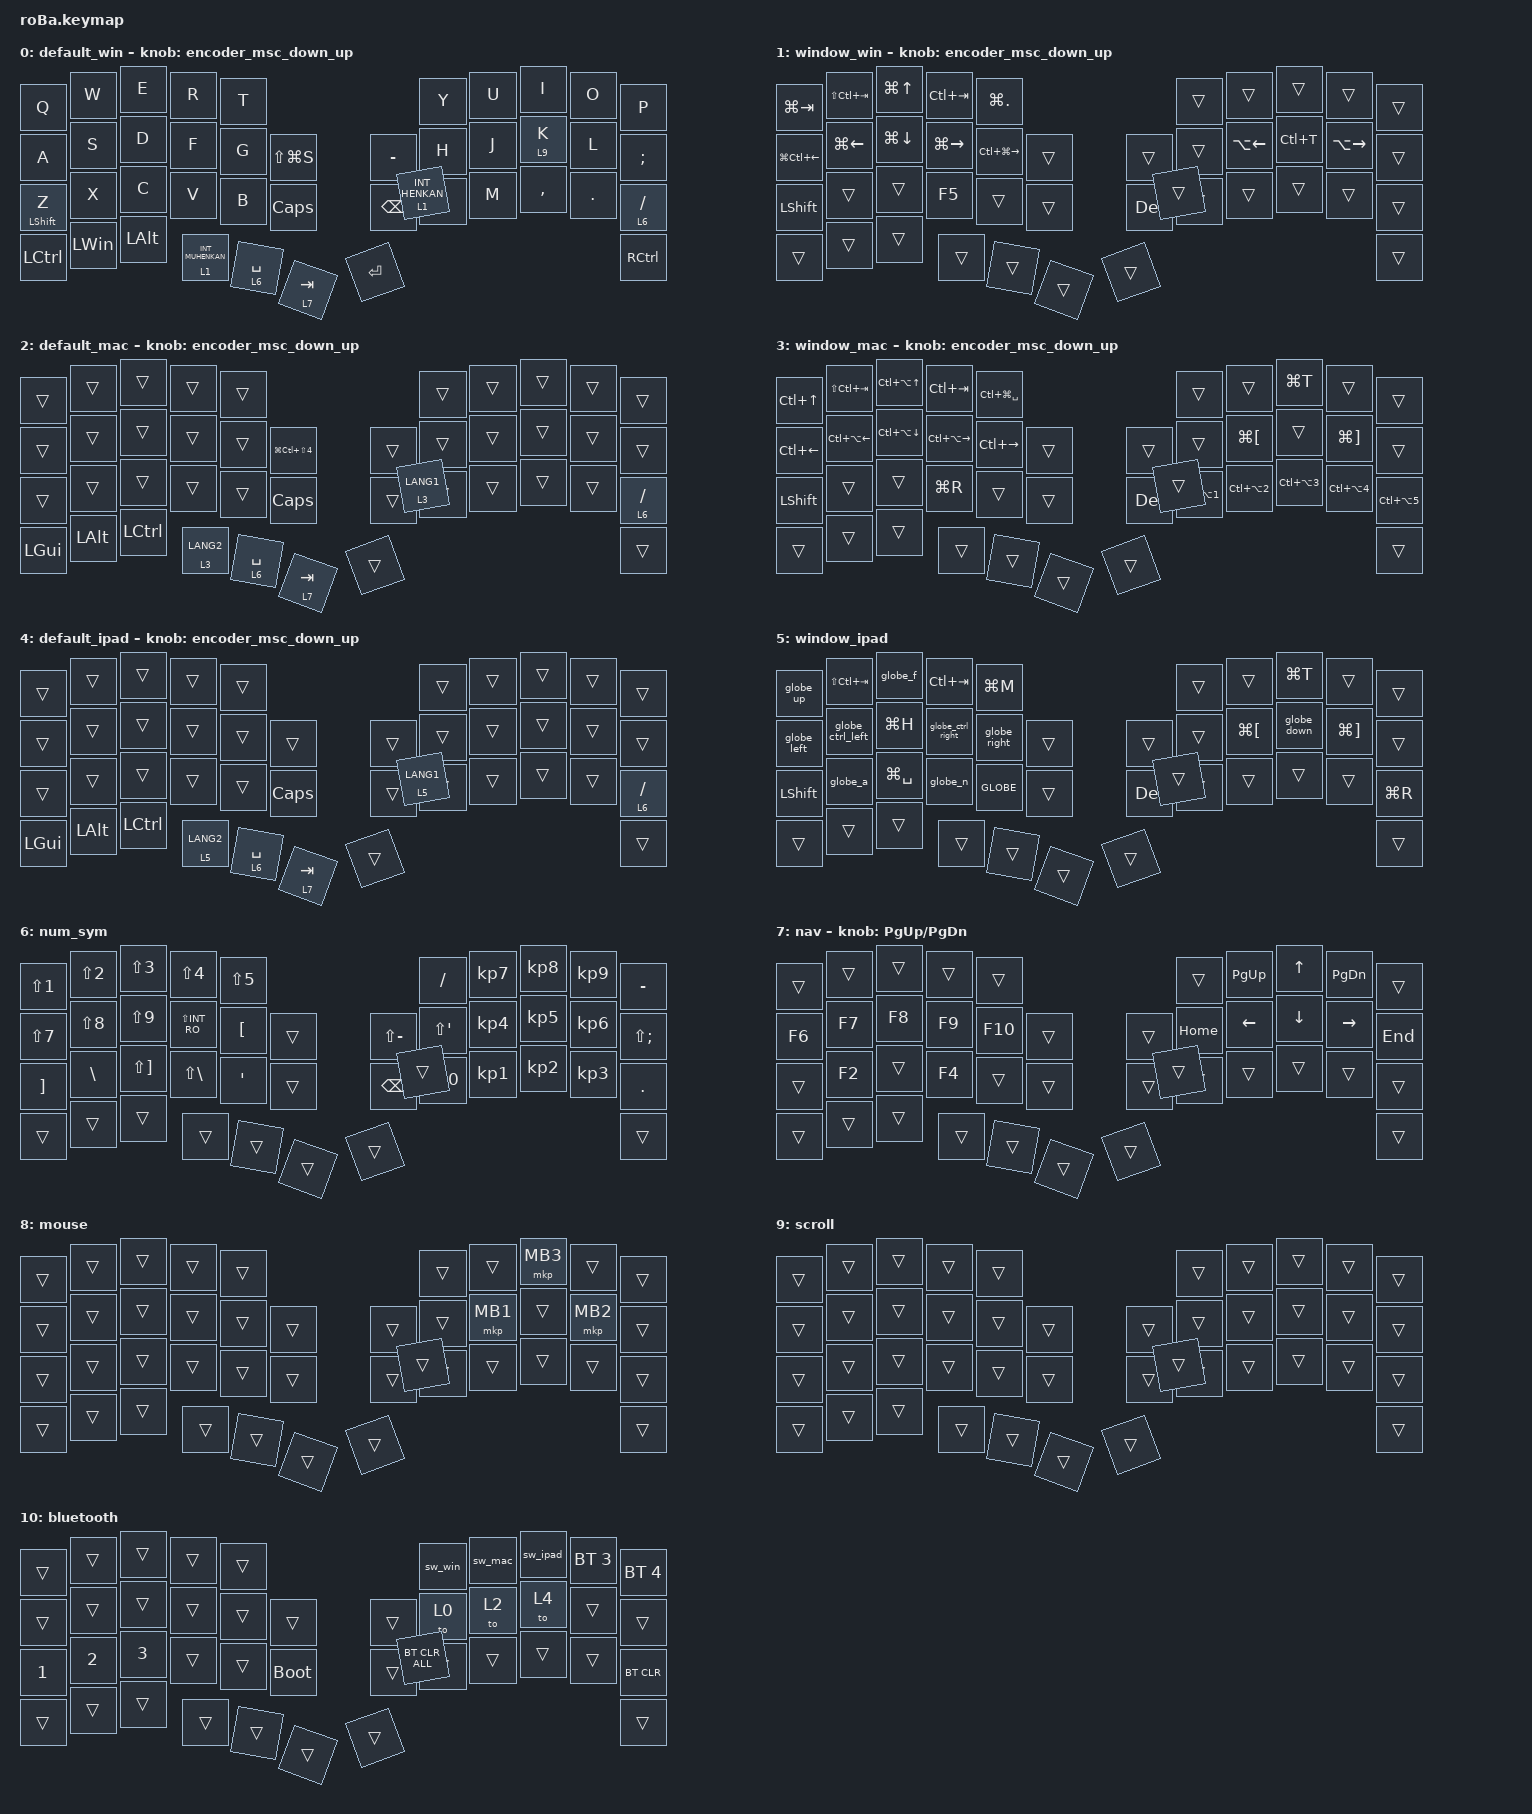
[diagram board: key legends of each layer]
#include <input/processors.dtsi>
#include <behaviors.dtsi>
#include <dt-bindings/zmk/bt.h>
#include <dt-bindings/zmk/keys.h>
#include <dt-bindings/zmk/pointing.h>

#define ZMK_POINTING_DEFAULT_SCRL_VAL 80
#define MOUSE  8

&mt {
    flavor = "balanced";
    quick-tap-ms = <150>;
    require-prior-idle-ms = <150>;
};

// マウスキーを押下すると10秒間AMLを延長する。

&mkp_input_listener { input-processors = <&zip_temp_layer 8 10000>; };

&zip_temp_layer { require-prior-idle-ms = <200>; };

&trackball { scroll-layers = <9>; };

/ {
    combos {
        compatible = "zmk,combos";

        tab {
            bindings = <&kp TAB>;
            key-positions = <11 12>;
        };

        shift_tab {
            bindings = <&kp LS(TAB)>;
            key-positions = <12 13>;
        };

        Alt_Left {
            bindings = <&mkp MB4>;
            key-positions = <17 18>;
            layers = <0 1 2 3 4 5>;
        };

        Ctrl_Shift_1 {
            bindings = <&kp LS(LC(NUMBER_1))>;
            key-positions = <29 30>;
        };

        Bluetooth {
            bindings = <&lt 10 SPACE>;
            key-positions = <37 38 39>;
        };

        escape {
            bindings = <&kp ESCAPE>;
            key-positions = <18 19>;
            layers = <0 1 2 3 4 5>;
        };

        amp {
            bindings = <&kp LS(NUMBER_6)>;
            key-positions = <2 3>;
            layers = <6>;
            timeout-ms = <40>;
            require-prior-idle-ms = <150>;
        };

        close_win {
            bindings = <&kp LC(W)>;
            key-positions = <30 32>;
            layers = <0 1>;
            timeout-ms = <35>;
            require-prior-idle-ms = <150>;
        };

        close_mac {
            bindings = <&kp LG(W)>;
            key-positions = <30 32>;
            layers = <2 3 4 5>;
            timeout-ms = <35>;
            require-prior-idle-ms = <150>;
        };

        alt_f4 {
            bindings = <&kp LA(F4)>;
            key-positions = <23 24 25>;
            layers = <1>;
            timeout-ms = <50>;
            require-prior-idle-ms = <150>;
        };

        f7 {
            bindings = <&kp F7>;
            key-positions = <3 4>;
            layers = <6>;
            timeout-ms = <40>;
            require-prior-idle-ms = <150>;
        };

        f8 {
            bindings = <&kp F8>;
            key-positions = <13 14>;
            layers = <6>;
            timeout-ms = <40>;
            require-prior-idle-ms = <150>;
        };

        f9 {
            bindings = <&kp F9>;
            key-positions = <5 6>;
            layers = <6>;
            timeout-ms = <40>;
            require-prior-idle-ms = <150>;
        };

        f10 {
            bindings = <&kp F10>;
            key-positions = <17 18>;
            layers = <6>;
            timeout-ms = <40>;
            require-prior-idle-ms = <150>;
        };

        f2 {
            bindings = <&kp F2>;
            key-positions = <22 23>;
            layers = <6>;
            timeout-ms = <40>;
            require-prior-idle-ms = <150>;
        };

        f4 {
            bindings = <&kp F4>;
            key-positions = <24 25>;
            layers = <6>;
            timeout-ms = <40>;
            require-prior-idle-ms = <150>;
        };
    };

    macros {
        to_layer_0: to_layer_0 {
            compatible = "zmk,behavior-macro-one-param";
            #binding-cells = <1>;
            bindings = <&to 0 &macro_param_1to1 &kp MACRO_PLACEHOLDER>;
            label = "TO_LAYER_0";
        };

        exit_AML: exit_AML {
            compatible = "zmk,behavior-macro";
            wait-ms = <0>;
            tap-ms = <0>;
            #binding-cells = <0>;
            bindings = <&tog_off 8>;
            label = "exit_AML";
        };

        kp_exit_AML: kp_exit_AML {
            compatible = "zmk,behavior-macro-one-param";
            wait-ms = <0>;
            tap-ms = <0>;
            #binding-cells = <1>;
            bindings = <&macro_param_1to1 &kp MACRO_PLACEHOLDER &exit_AML>;
            label = "KP_exit_AML";
        };

        sw_win: sw_win {
            compatible = "zmk,behavior-macro";
            #binding-cells = <0>;
            wait-ms = <0>;
            tap-ms = <0>;
            bindings = <&bt BT_SEL 0 &to 0>;
            label = "SW_WIN";
        };

        sw_mac: sw_mac {
            compatible = "zmk,behavior-macro";
            #binding-cells = <0>;
            wait-ms = <0>;
            tap-ms = <0>;
            bindings = <&bt BT_SEL 1 &to 2>;
            label = "SW_MAC";
        };

        sw_ipad: sw_ipad {
            compatible = "zmk,behavior-macro";
            #binding-cells = <0>;
            wait-ms = <0>;
            tap-ms = <0>;
            bindings = <&bt BT_SEL 2 &to 4>;
            label = "SW_IPAD";
        };

        globe_up: globe_up {
            compatible = "zmk,behavior-macro";
            #binding-cells = <0>;
            wait-ms = <0>;
            tap-ms = <0>;
            bindings = <&macro_press &kp GLOBE>, <&macro_tap &kp UP>, <&macro_release &kp GLOBE>;
            label = "GLOBE_UP";
        };

        globe_down: globe_down {
            compatible = "zmk,behavior-macro";
            #binding-cells = <0>;
            wait-ms = <0>;
            tap-ms = <0>;
            bindings = <&macro_press &kp GLOBE>, <&macro_tap &kp DOWN>, <&macro_release &kp GLOBE>;
            label = "GLOBE_DOWN";
        };

        globe_left: globe_left {
            compatible = "zmk,behavior-macro";
            #binding-cells = <0>;
            wait-ms = <0>;
            tap-ms = <0>;
            bindings = <&macro_press &kp GLOBE>, <&macro_tap &kp LEFT>, <&macro_release &kp GLOBE>;
            label = "GLOBE_LEFT";
        };

        globe_right: globe_right {
            compatible = "zmk,behavior-macro";
            #binding-cells = <0>;
            wait-ms = <0>;
            tap-ms = <0>;
            bindings = <&macro_press &kp GLOBE>, <&macro_tap &kp RIGHT>, <&macro_release &kp GLOBE>;
            label = "GLOBE_RIGHT";
        };

        globe_f: globe_f {
            compatible = "zmk,behavior-macro";
            #binding-cells = <0>;
            wait-ms = <0>;
            tap-ms = <0>;
            bindings = <&macro_press &kp GLOBE>, <&macro_tap &kp F>, <&macro_release &kp GLOBE>;
            label = "GLOBE_F";
        };

        globe_a: globe_a {
            compatible = "zmk,behavior-macro";
            #binding-cells = <0>;
            wait-ms = <0>;
            tap-ms = <0>;
            bindings = <&macro_press &kp GLOBE>, <&macro_tap &kp A>, <&macro_release &kp GLOBE>;
            label = "GLOBE_A";
        };

        globe_n: globe_n {
            compatible = "zmk,behavior-macro";
            #binding-cells = <0>;
            wait-ms = <0>;
            tap-ms = <0>;
            bindings = <&macro_press &kp GLOBE>, <&macro_tap &kp N>, <&macro_release &kp GLOBE>;
            label = "GLOBE_N";
        };

        globe_ctrl_left: globe_ctrl_left {
            compatible = "zmk,behavior-macro";
            #binding-cells = <0>;
            wait-ms = <0>;
            tap-ms = <0>;
            bindings = <&macro_press &kp GLOBE>, <&macro_press &kp LCTRL>, <&macro_tap &kp LEFT>, <&macro_release &kp LCTRL>, <&macro_release &kp GLOBE>;
            label = "GLOBE_CTRL_LEFT";
        };

        globe_ctrl_right: globe_ctrl_right {
            compatible = "zmk,behavior-macro";
            #binding-cells = <0>;
            wait-ms = <0>;
            tap-ms = <0>;
            bindings = <&macro_press &kp GLOBE>, <&macro_press &kp LCTRL>, <&macro_tap &kp RIGHT>, <&macro_release &kp LCTRL>, <&macro_release &kp GLOBE>;
            label = "GLOBE_CTRL_RIGHT";
        };
    };

    behaviors {
        encoder_msc_down_up: encoder_msc_down_up {
            compatible = "zmk,behavior-sensor-rotate";
            label = "ENCODER_MSC_DOWN_UP";
            #sensor-binding-cells = <0>;
            bindings = <&msc SCRL_DOWN>, <&msc SCRL_UP>;

            tap-ms = <20>;
        };

        lt_to_layer_0: lt_to_layer_0 {
            compatible = "zmk,behavior-hold-tap";
            label = "LAYER_TAP_TO_0";
            bindings = <&mo>, <&to_layer_0>;

            #binding-cells = <2>;
            tapping-term-ms = <200>;
            require-prior-idle-ms = <150>;
        };

        tog_off: toggle_layer_off {
            compatible = "zmk,behavior-toggle-layer";
            #binding-cells = <1>;
            display-name = "Toggle Layer Off";
            toggle-mode = "off";
        };

        mt_exit_AML_on_tap: mt_exit_AML_on_tap {
            compatible = "zmk,behavior-hold-tap";
            label = "MT_exit_AML_ON_TAP";
            bindings = <&kp>, <&kp_exit_AML>;

            #binding-cells = <2>;
            tapping-term-ms = <200>;
            flavor = "balanced";
            quick-tap-ms = <200>;
            require-prior-idle-ms = <150>;
        };
    };

    keymap {
        compatible = "zmk,keymap";

        default_win {
            bindings = <
&kp Q                             &kp W         &kp E         &kp R               &kp T                                          &kp Y             &kp U  &kp I      &kp O    &kp P
&kp A                             &kp S         &kp D         &kp F               &kp G        &kp LS(LG(S))      &kp MINUS      &kp H             &kp J  &lt 9 K    &kp L    &kp SEMICOLON
&mt_exit_AML_on_tap LEFT_SHIFT Z  &kp X         &kp C         &kp V               &kp B        &kp CAPSLOCK       &kp BACKSPACE  &kp N             &kp M  &kp COMMA  &kp DOT  &lt 6 SLASH
&kp LCTRL                         &kp LEFT_WIN  &kp LEFT_ALT  &lt 1 INT_MUHENKAN  &lt 6 SPACE  &lt 7 TAB          &kp ENTER      &lt 1 INT_HENKAN                             &kp RCTRL
            >;

            sensor-bindings = <&encoder_msc_down_up>;
        };

        window_win {
            // Win: window/tab/browser ops. Triggered by Slash hold (right hand).

            bindings = <
&kp LG(TAB)       &kp LS(LC(TAB))     &kp LG(UP_ARROW)    &kp LC(TAB)          &kp LG(DOT)                            &trans  &trans        &trans     &trans         &trans
&kp LG(LC(LEFT))  &kp LG(LEFT_ARROW)  &kp LG(DOWN_ARROW)  &kp LG(RIGHT_ARROW)  &kp LC(LG(RIGHT))  &trans      &trans  &trans  &kp LA(LEFT)  &kp LC(T)  &kp LA(RIGHT)  &trans
&kp LEFT_SHIFT  &trans  &trans  &kp F5  &trans  &trans  &kp DELETE  &trans  &trans  &trans  &trans  &trans
&trans            &trans              &trans              &trans               &trans             &trans      &trans  &trans                                          &trans
            >;

            sensor-bindings = <&encoder_msc_down_up>;
        };

        default_mac {
            // Mac固有キーのみ明示。残りはLayer 0(default_win)に透過。

            bindings = <
&trans        &trans        &trans            &trans       &trans                                             &trans       &trans  &trans  &trans  &trans
&trans        &trans        &trans            &trans       &trans       &kp LG(LC(LS(NUMBER_4)))      &trans  &trans       &trans  &trans  &trans  &trans
&trans        &trans        &trans            &trans       &trans       &kp CAPSLOCK                  &trans  &trans       &trans  &trans  &trans  &lt 6 SLASH
&kp LEFT_GUI  &kp LEFT_ALT  &kp LEFT_CONTROL  &lt 3 LANG2  &lt 6 SPACE  &lt 7 TAB                     &trans  &lt 3 LANG1                          &trans
            >;

            sensor-bindings = <&encoder_msc_down_up>;
        };

        window_mac {
            // Mac: window/tab/browser ops. Triggered by Slash hold (right hand).

            bindings = <
&kp LC(UP)      &kp LS(LC(TAB))   &kp LC(LA(UP))    &kp LC(TAB)        &kp LC(LG(SPACE))                      &trans                &trans                &kp LG(T)             &trans                 &trans
&kp LC(LEFT)    &kp LC(LA(LEFT))  &kp LC(LA(DOWN))  &kp LC(LA(RIGHT))  &kp LC(RIGHT)      &trans      &trans  &trans                &kp LG(LEFT_BRACKET)  &trans                &kp LG(RIGHT_BRACKET)  &trans
&kp LEFT_SHIFT  &trans  &trans  &kp LG(R)  &trans  &trans  &kp DELETE  &kp LC(LA(NUMBER_1))  &kp LC(LA(NUMBER_2))  &kp LC(LA(NUMBER_3))  &kp LC(LA(NUMBER_4))  &kp LC(LA(NUMBER_5))
&trans          &trans            &trans            &trans             &trans             &trans      &trans  &trans                                                                                   &trans
            >;

            sensor-bindings = <&encoder_msc_down_up>;
        };

        default_ipad {
            bindings = <
&trans        &trans        &trans            &trans       &trans                                     &trans  &trans       &trans  &trans  &trans
&trans        &trans        &trans            &trans       &trans       &trans         &trans         &trans  &trans       &trans  &trans  &trans
&trans        &trans        &trans            &trans       &trans       &kp CAPSLOCK   &trans         &trans  &trans       &trans  &trans  &lt 6 SLASH
&kp LEFT_GUI  &kp LEFT_ALT  &kp LEFT_CONTROL  &lt 5 LANG2  &lt 6 SPACE  &lt 7 TAB                     &trans  &lt 5 LANG1                          &trans
            >;

            sensor-bindings = <&encoder_msc_down_up>;
        };

        window_ipad {
            bindings = <
&globe_up       &kp LS(LC(TAB))   &globe_f       &kp LC(TAB)         &kp LG(M)                                        &trans  &trans                 &kp LG(T)              &trans  &trans
&globe_left     &globe_ctrl_left  &kp LG(H)      &globe_ctrl_right   &globe_right  &trans  &trans      &trans         &kp LG(LEFT_BRACKET)  &globe_down  &kp LG(RIGHT_BRACKET)  &trans
&kp LEFT_SHIFT  &globe_a  &kp LG(SPACE)  &globe_n  &kp GLOBE  &trans  &kp DELETE  &trans  &trans  &trans  &trans  &kp LG(R)
&trans          &trans            &trans         &trans              &trans        &trans  &trans      &trans                                                                       &trans
            >;
        };

        num_sym {
            // Left=symbols (上段 JIS Shift順), Right=numpad/calc. =はLS(MINUS), *=H, =はHの左の内側キー.

            bindings = <
&kp LS(NUMBER_1)   &kp LS(NUMBER_2)  &kp LS(NUMBER_3)       &kp LS(NUMBER_4)   &kp LS(NUMBER_5)                             &kp SLASH             &kp KP_NUMBER_7  &kp KP_NUMBER_8  &kp KP_NUMBER_9  &kp MINUS
&kp LS(NUMBER_7)   &kp LS(NUMBER_8)  &kp LS(NUMBER_9)       &kp LS(INT_RO)     &kp LEFT_BRACKET  &trans      &kp LS(MINUS)  &kp LS(SINGLE_QUOTE)  &kp KP_NUMBER_4  &kp KP_NUMBER_5  &kp KP_NUMBER_6  &kp LS(SEMICOLON)
&kp RIGHT_BRACKET  &kp BACKSLASH     &kp LS(RIGHT_BRACKET)  &kp LS(BACKSLASH)  &kp SINGLE_QUOTE  &trans      &kp BACKSPACE  &kp KP_NUMBER_0       &kp KP_NUMBER_1  &kp KP_NUMBER_2  &kp KP_NUMBER_3  &kp PERIOD
&trans             &trans            &trans                 &trans             &trans            &trans      &trans         &trans                                                                   &trans
            >;
        };

        nav {
            // Nav: arrows/Home/End/PgUp/Dn (right) + F-keys (left). Triggered by TAB hold.

            bindings = <
&trans  &trans  &trans  &trans  &trans                       &trans    &kp PAGE_UP  &kp UP    &kp PAGE_DOWN  &trans
&kp F6  &kp F7  &kp F8  &kp F9  &kp F10  &trans  &trans  &kp HOME  &kp LEFT  &kp DOWN  &kp RIGHT  &kp END
&trans  &kp F2  &trans  &kp F4  &trans  &trans       &trans  &trans    &trans       &trans    &trans         &trans
&trans  &trans  &trans  &trans  &trans  &trans       &trans  &trans                                          &trans
            >;

            sensor-bindings = <&inc_dec_kp PG_UP PG_DN>;
        };

        mouse {
            bindings = <
&trans  &trans  &trans  &trans  &trans                      &trans  &trans    &mkp MB3  &trans    &trans
&trans  &trans  &trans  &trans  &trans  &trans      &trans  &trans  &mkp MB1  &trans    &mkp MB2  &trans
&trans  &trans  &trans  &trans  &trans  &trans      &trans  &trans  &trans    &trans    &trans    &trans
&trans  &trans  &trans  &trans  &trans  &trans      &trans  &trans                                &trans
            >;
        };

        scroll {
            bindings = <
&trans  &trans  &trans  &trans  &trans                      &trans  &trans  &trans  &trans  &trans
&trans  &trans  &trans  &trans  &trans  &trans      &trans  &trans  &trans  &trans  &trans  &trans
&trans  &trans  &trans  &trans  &trans  &trans      &trans  &trans  &trans  &trans  &trans  &trans
&trans  &trans  &trans  &trans  &trans  &trans      &trans  &trans                          &trans
            >;
        };

        bluetooth {
            // 右手上段: Y=sw_win(BT0+Win), U=sw_mac(BT1+Mac), I=sw_ipad(BT2+iPad)
            // 右手中段: H=有線→Win, J=有線→Mac

            bindings = <
&trans        &trans        &trans        &trans  &trans                           &sw_win         &sw_mac  &sw_ipad  &bt BT_SEL 3  &bt BT_SEL 4
&trans        &trans        &trans        &trans  &trans  &trans           &trans  &to 0           &to 2    &to 4    &trans        &trans
&kp NUMBER_1  &kp NUMBER_2  &kp NUMBER_3  &trans  &trans  &bootloader      &trans  &trans          &trans   &trans    &trans        &bt BT_CLR
&trans        &trans        &trans        &trans  &trans  &trans           &trans  &bt BT_CLR_ALL                                   &trans
            >;
        };
    };
};
